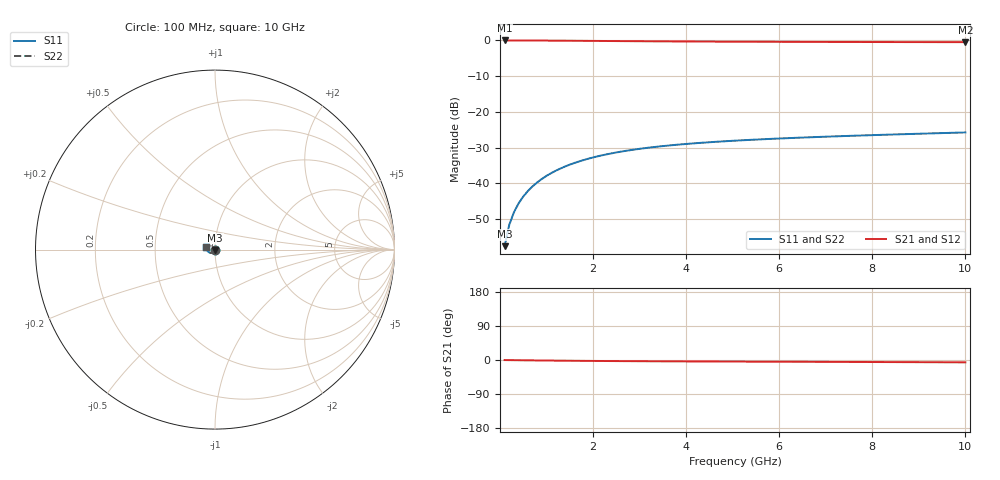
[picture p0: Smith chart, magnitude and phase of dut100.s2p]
! Touchstone file exported from HFSS 2024.1.0
!  File:  C:/UserFiles/LocalFiles/RDL_TSV_Batchsim/temp_TSV1_100_1779376881.aedt
!  Generated:  11:28:28 PM May 21, 2026
!  Design:  TSV1
!  Project:  temp_TSV1_100_1779376881
!  Setup:  Setup1
!  Solution:  Sweep
! Variables:
!  dtsv = 9.77um
!  hbump = 3um
!  htsv = 95.12um
!  lrdl = 252.1521522um
!  p = 40
!  p1 = 58.02um
!  t = 500um
!  trdl = 3um
!  wrdl = 24.89489489um
# GHz S MA R 50.000000
! Terminal data exported
! Port[1] = TSV22_T1
! Port[2] = TSV22_T2
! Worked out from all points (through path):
!   100 points, 100 MHz to 10 GHz, reference 50 ohm
!   highest |S21| = 0.00 dB at 100 MHz (marker M1); lowest = -0.5 dB at 10 GHz (marker M2)
!   lowest |S11| = -57.5 dB at 100 MHz (marker M3), VSWR 1.00, Z = 50 - j0.132 ohm
!   |S11| at or under -10 dB: start of sweep to end of sweep
!   |S22| runs from -57.5 to -25.7 dB; largest |S21 - S12| = 3.3e-15
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0.1  0.001327 -84.8  0.9998 -0.1  0.9998 -0.1  0.001327 -84.8
! Gamma 0 0 0 0
! Port Impedance 50 0 50 0
0.2  0.002639 -90.3  0.9996 -0.3  0.9996 -0.3  0.002639 -90.3
0.3  0.003951 -93.5  0.9994 -0.4  0.9994 -0.4  0.003951 -93.5
0.4  0.005259 -96.2  0.999 -0.6  0.999 -0.6  0.005259 -96.2
0.5  0.006555 -98.6  0.9986 -0.7  0.9986 -0.7  0.006555 -98.6
0.6  0.007838 -100.8  0.9981 -0.9  0.9981 -0.9  0.007838 -100.8
0.7  0.009103 -103.0  0.9975 -1.0  0.9975 -1.0  0.009103 -103.0
0.8  0.01035 -105.2  0.9968 -1.1  0.9968 -1.1  0.01035 -105.2
0.9  0.01157 -107.2  0.9961 -1.3  0.9961 -1.3  0.01157 -107.2
1.1  0.01393 -111.3  0.9945 -1.5  0.9945 -1.5  0.01393 -111.3
1.4  0.01727 -117.1  0.9917 -1.9  0.9917 -1.9  0.01727 -117.1
1.6  0.01934 -120.7  0.9897 -2.1  0.9897 -2.1  0.01934 -120.7
1.8  0.02128 -124.2  0.9876 -2.3  0.9876 -2.3  0.02128 -124.2
2.1  0.02397 -129.2  0.9845 -2.5  0.9845 -2.5  0.02397 -129.2
2.5  0.02713 -135.4  0.9803 -2.8  0.9803 -2.8  0.02713 -135.4
2.9  0.02986 -141.1  0.9764 -3.1  0.9764 -3.1  0.02986 -141.1
3.4  0.03277 -147.5  0.972 -3.4  0.972 -3.4  0.03277 -147.5
4.2  0.03653 -156.5  0.966 -3.8  0.966 -3.8  0.03653 -156.5
5.1  0.03983 -165.0  0.9607 -4.2  0.9607 -4.2  0.03983 -165.0
6.7  0.04435 -177.5  0.9541 -4.8  0.9541 -4.8  0.04435 -177.5
8.4  0.04828 171.8  0.9497 -5.5  0.9497 -5.5  0.04828 171.8
10  0.05169 163.5  0.9468 -6.1  0.9468 -6.1  0.05169 163.5
